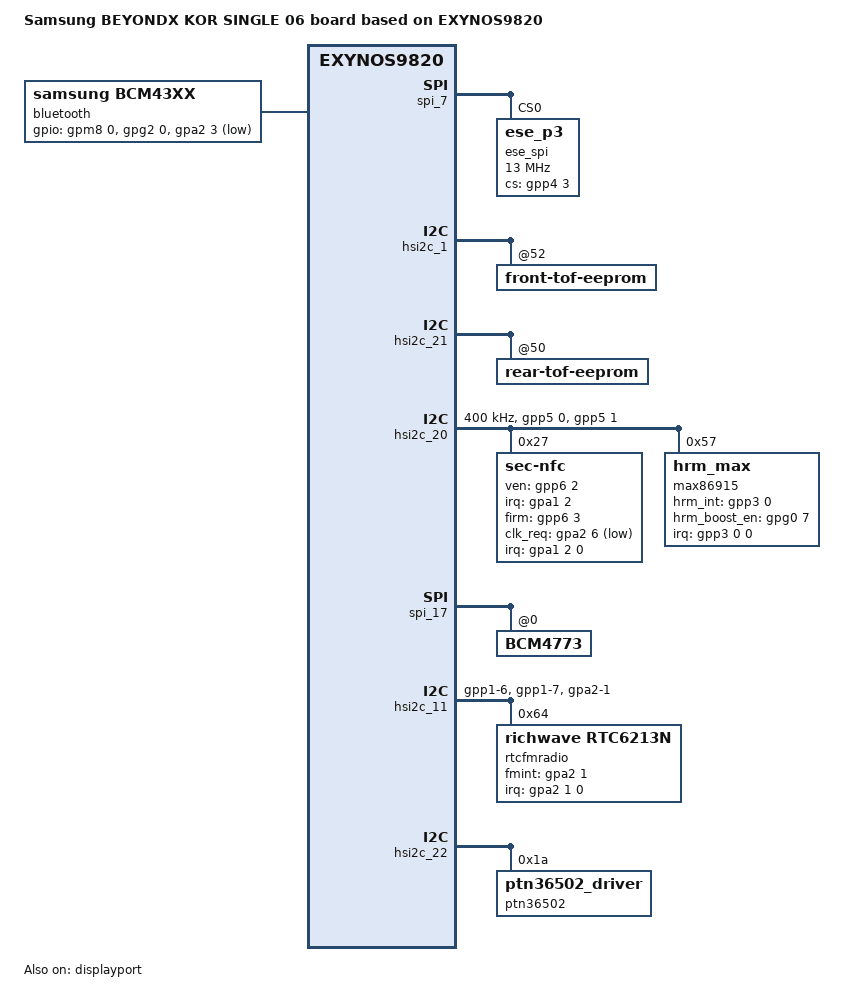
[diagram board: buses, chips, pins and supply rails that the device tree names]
/*
 * SAMSUNG EXYNOS9820 board device tree source
 *
 * Copyright (c) 2018 Samsung Electronics Co., Ltd.
 *		http://www.samsung.com
 *
 * This program is free software; you can redistribute it and/or modify
 * it under the terms of the GNU General Public License version 2 as
 * published by the Free Software Foundation.
*/

/dts-v1/;
/plugin/;
#include "exynos9820-sensorhub.dtsi"
#include "exynos9820-display-lcd.dtsi"
#include "battery_data_beyondxlte_common.dtsi"
#include "exynos9820-beyondx_motor.dtsi"
#include "exynos9820-beyondx_if-pmic-max77705.dtsi"
#include <dt-bindings/clock/exynos9820.h>
#include <dt-bindings/pci/pci.h>
#include "exynos9820-beyondx_camera.dtsi"
#include "exynos9820-beyondx_common.dtsi"
#include "exynos9820-beyondx_fingerprint_04.dtsi"
#include "exynos9820-beyondx_kor_gpio_00.dtsi"
#include "exynos9820-beyondlte_kor-tdmb-19.dtsi"
#include "exynos9820-beyondx_optics-r00.dtsi"

/ {
	compatible = "samsung,BEYONDX KOR SINGLE 06", "samsung,EXYNOS9820";
	dtbo-hw_rev = <6>;
   	dtbo-hw_rev_end = <6>;

	fragment@model {
		target-path = "/";
		__overlay__ {
			#address-cells = <2>;
			#size-cells = <1>;

			model = "Samsung BEYONDX KOR SINGLE 06 board based on EXYNOS9820";
			pinctrl@15850000 {
				bt_hostwake: bt-hostwake {
					samsung,pins = "gpa2-3";
					samsung,pin-function = <0>;
					samsung,pin-pud = <1>;
				};
			};
			pinctrl@10430000 {
				bt_btwake: bt-btwake {
					samsung,pins = "gpg2-0";
					samsung,pin-function = <1>;
					samsung,pin-pud = <0>;
					samsung,pin-con-pdn = <3>;
					samsung,pin-pud-pdn = <0>;
				};
			};
			pinctrl@15C30000 {
				bt_en: bt-en {
					samsung,pins = "gpm8-0";
					samsung,pin-function = <1>;
					samsung,pin-pud = <0>;
					samsung,pin-con-pdn = <3>;
					samsung,pin-pud-pdn = <0>;
				};

				s5100_ap2cp_wakeup: s5100_ap2cp_wakeup {
					samsung,pins = "gpm17-0";
					samsung,pin-con-pdn = <3>;
					samsung,pin-pud = <1>;
				};
			};
			bluetooth {
				compatible = "samsung,bcm43xx";
				gpios = <&gpm8 0 0   /*BT_EN*/
				&gpg2 0 0    /*BT_WAKE*/
				&gpa2 3 0xF    /*BT_HOST_WAKE*/ >;
				pinctrl-names = "default";
				pinctrl-0=<&bt_hostwake &bt_btwake &bt_en>;
				status = "okay";
			};
		}; /* end of __overlay__ */
	}; /* end of fragment */

	fragment@camera {
		target-path = "/";
		__overlay__ {
			/* Ultra Wide CAMERA */
			fimc_is_sensor_3p9: fimc-is_sensor_3p9@2D {
				gpio_mipi_sel = <&gpm9 0 0x1>; /* mipi sw sel */
			};
		}; /* end of __overlay__ */
	}; /* end of fragment */
}; /* end of root */

&pinctrl_6 {
	spi7_bus_suspend: spi7-bus-suspend {
		samsung,pins = "gpp4-2", "gpp4-1", "gpp4-0";
		samsung,pin-function = <0>;	/* INPUT */
		samsung,pin-pud = <1>;		/* DOWN */
		samsung,pin-drv = <0>;
	};
	spi7_cs_suspend: spi7-cs-suspend {
		samsung,pins = "gpp4-3";
		samsung,pin-function = <0>;	/* INPUT */
		samsung,pin-pud = <1>;		/* DOWN */
		samsung,pin-drv = <0>;
	};
};

/* SPI USI_PERIC1_USI06_SPI */
&spi_7 {
	status = "okay";
	/delete-property/ pinctrl-names;
	/delete-property/ pinctrl-0;
	pinctrl-names = "ese_active", "ese_suspend";
	pinctrl-0 = <&spi7_bus &spi7_cs>;
	pinctrl-1 = <&spi7_bus_suspend &spi7_cs_suspend>;

	ese_spi@0 {
		compatible = "ese_p3";
		reg = <0>;
		spi-max-frequency = <13000000>;
		gpio-controller;
		#gpio-cells = <2>;

		p3-vdd-1p8= "VDD_ESE_1P8";

		clocks = <&clock GATE_USI06_USI>, <&clock DOUT_CLK_PERIC1_USI06_USI>;
		clock-names = "pclk", "sclk";
		ese_p3,cs-gpio = <&gpp4 3 0>;

		controller-data {
			samsung,spi-feedback-delay = <0>;
			samsung,spi-chip-select-mode = <0>;
		};
	};
};

&pinctrl_6 {
	nfc_en: nfc-en {
		samsung,pins = "gpp6-2";
		samsung,pin-function = <1>;
		samsung,pin-pud = <0>;
		samsung,pin-con-pdn = <3>;
		samsung,pin-pud-pdn = <0>;
		};

	nfc_firm: nfc-firm {
		samsung,pins = "gpp6-3";
		samsung,pin-function = <1>;
		samsung,pin-pud = <0>;
		samsung,pin-con-pdn = <3>;
		samsung,pin-pud-pdn = <0>;
		};
};

/* PERIC1 CAM1 */
&hsi2c_1 {
	front-tof-eeprom@52 {
		cal_map_es_version = <3>;
		/* BEYONDX_FRONT_TOF_Cal_Map_v003_181127 */
		/* 1 cal all */
		crc_check_list = <0x0100 0x11A3 0x18FC>;
	};
}; 

/* USI08_USI_I2C */
&hsi2c_21 {
	rear-tof-eeprom@50 {
		cal_map_es_version = <2>;
		/* BEYONDX_REAR_TOF_Cal_Map_V002_181127 */
		/* 1 cal all */
		crc_check_list = <0x0100 0x11A3 0x18FC>;
	};
}; 

&hsi2c_20 {
	gpios = <&gpp5 0 0 &gpp5 1 0>;
	status = "okay";
	clock-frequency = <400000>;

	sec-nfc@27 {
		compatible = "sec-nfc";
		reg = <0x27>;

		interrupts = <2 0 0>;
		interrupt-parent = <&gpa1>;
		pinctrl-names = "default";
		pinctrl-0 = <&nfc_en &nfc_firm>;

		sec-nfc,ven-gpio = <&gpp6 2 0>;
		sec-nfc,irq-gpio = <&gpa1 2 0>;
		sec-nfc,firm-gpio = <&gpp6 3 0>;
		sec-nfc,clk_req-gpio = <&gpa2 6 0xf>;
		sec-nfc,clk_use = <2>;
		sec-nfc,nfc_pvdd = "VDD_NFC_1P8";

		clocks = <&clock OSC_NFC>;
		clock-names = "oscclk_nfc";
		sec-nfc,nfc_ap_clk;
		sec-nfc,ldo_control;
	};

	max86915@57 {
		compatible = "hrm_max";
		reg = <0x57>;
		interrupt-parent = <&gpp3>;
		interrupts = <0 0 0>;
		pinctrl-names = "default", "sleep", "idle";
		pinctrl-0 = <&hrm_irq &hrm_en>;
		pinctrl-1 = <&hrm_irqsleep &hrm_ensleep>;
		pinctrl-2 = <&hrm_irqidle &hrm_enidle>;
		hrmsensor,hrm_int-gpio = <&gpp3 0 0>;
		hrmsensor,hrm_boost_en-gpio = <&gpg0 7 0>;
		hrmsensor,vdd_1p8 = "S2MPB02_LDO8";
		hrmsensor,i2c_1p8 = "VDD_NFC_1P8";
		hrmsensor,thd = <100000 100000>;
		hrmsensor,init_curr = <0x46 0x41 0x28 0x3c>;
	};
};

&pinctrl_5 {
	hrm_irq: hrm-irq {
		samsung,pins = "gpp3-0";
		samsung,pin-function = <0xf>;
		samsung,pin-pud = <0>;
		samsung,pin-drv = <3>;
	};

	hrm_irqsleep: hrm-irqsleep {
		samsung,pins = "gpp3-0";
		samsung,pin-con-pdn = <2>;
		samsung,pin-pud-pdn = <0>;
	};

	hrm_irqidle: hrm-irqidle {
		samsung,pins = "gpp3-0";
		samsung,pin-function = <0xf>;
		samsung,pin-pud = <0>;
		samsung,pin-drv = <3>;
	};

	hrm_en: hrm-en {
		samsung,pins = "gpg0-7";
		samsung,pin-function = <0>;
		samsung,pin-pud = <1>;
		samsung,pin-drv = <2>;
	};

	hrm_ensleep: hrm-ensleep {
		samsung,pins = "gpg0-7";
		samsung,pin-con-pdn = <2>;
		samsung,pin-pud-pdn = <1>;
	};

	hrm_enidle: hrm-enidle {
		samsung,pins = "gpg0-7";
		samsung,pin-function = <0>;
		samsung,pin-pud = <1>;
		samsung,pin-drv = <2>;
	};
};

&spi_17 {
	BCM4773@0 {
		ssp-acc-position = <4>;
		ssp-mag-position = <4>;
		ssp-mag-array = /bits/ 8 <100 82 15 28 211 230 255 106 216 54 190 193 2 102 255 89 254 216 198
					243 192 253 113 99 10 81 77>;
		ssp-thermi-up = /bits/ 16 <3246 3218 3180 3132 3072 2998 2910 2805 2687 2548 2398 2237 2069 1899
					1720 1554 1387 1233 1089 959 838 735 634>;
		ssp-thermi-sub = /bits/ 16 <4095 4095 4095 4051 3840 3599 3339 3056 2766 2477 2197 1932 1681 1455
					1254 1077 923 788 672 574 490 422 354>;
	};
};

&displayport {
	status = "okay";
	dp,usb_con_sel = <&gpg0 4 0>;
};

&pinctrl_0 {
	fm_int: fm-int {
		samsung,pins = "gpa2-1";
		samsung,pin-function = <0xf>;
		samsung,pin-pud = <0>;
		samsung,pin-con-pdn =<3>;
		samsung,pin-pud-pdn = <0>;
	};
};

&pinctrl_5 {
	hsi2c11_bus: hsi2c11-bus {
		samsung,pins = "gpp1-6", "gpp1-7";
		samsung,pin-function = <3>;
		samsung,pin-pud = <0>;
		samsung,pin-drv = <0>;
		samsung,pin-pud-pdn = <0>;
	};
};

&hsi2c_11 {
	status = "okay";
	pinctrl-names = "default";
	pinctrl-0 = <&hsi2c11_bus &fm_int>;

	rtcfmradio@64 {
		compatible = "richwave,rtc6213n", "rtc6213n";
		reg = <0x64>;
		interrupts = <1 0 0>;
		interrupt-parent = <&gpa2>;
		fmint-gpio = <&gpa2 1 0>;
		volume_db;
		radio_vol = <44 43 39 36 33 30 27 24 21 18 15 12 10 8 6 4>;
	};
};

&speedy {
	s2mps19mfd@00 {
		regulators {
			LDO29M {
				regulator-name = "vdd-fm-2p8";
				regulator-min-microvolt = <2800000>;
				regulator-max-microvolt = <2800000>;
				regulator-always-on;
				regulator-ramp-delay = <12000>;
				regulator-initial-mode = <3>;
			};
		};
	};
};

&hsi2c_22 {
	status = "okay";
	ptn36502@1a {
		compatible = "ptn36502_driver";
		reg = <0x1a>;
		combo,con_sel = <&gpg0 4 0x0>;
	};
};
